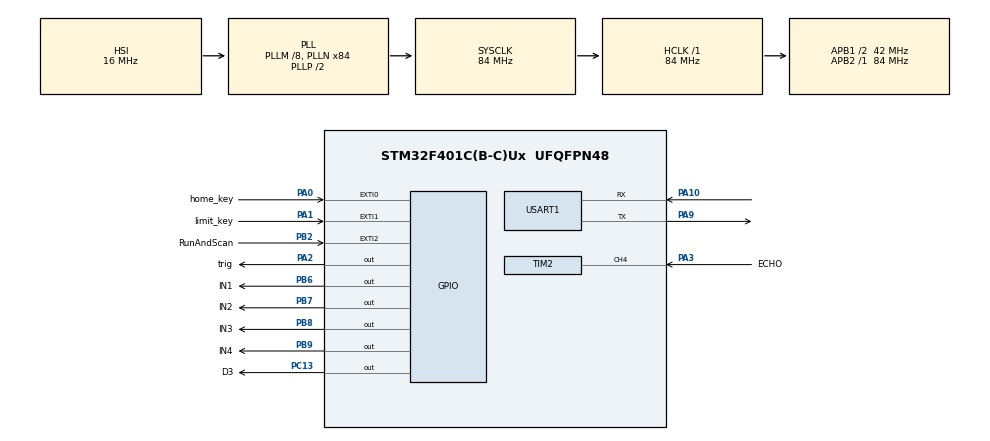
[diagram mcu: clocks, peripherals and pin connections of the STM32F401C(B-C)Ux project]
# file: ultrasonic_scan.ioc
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Mcu.Family=STM32F4
Mcu.Name=STM32F401C(B-C)Ux
Mcu.Package=UFQFPN48
NVIC.EXTI0_IRQn=true\:1\:0\:true\:true\:true\:1\:true\:true\:true
NVIC.EXTI1_IRQn=true\:2\:1\:true\:true\:true\:2\:true\:true\:true
NVIC.EXTI2_IRQn=true\:2\:2\:true\:true\:true\:3\:true\:true\:true
NVIC.PriorityGroup=NVIC_PRIORITYGROUP_2
NVIC.TIM2_IRQn=true\:2\:0\:true\:true\:true\:5\:true\:true\:true
NVIC.USART1_IRQn=true\:2\:3\:true\:true\:true\:4\:true\:true\:true
PA0-WKUP.GPIO_Label=home_key
PA0-WKUP.GPIO_ModeDefaultEXTI=GPIO_MODE_IT_FALLING
PA0-WKUP.GPIO_PuPd=GPIO_PULLUP
PA0-WKUP.Signal=GPXTI0
PA1.GPIO_Label=limit_key
PA1.GPIO_ModeDefaultEXTI=GPIO_MODE_IT_FALLING
PA1.GPIO_PuPd=GPIO_PULLUP
PA1.Signal=GPXTI1
PA10.Mode=Asynchronous
PA10.Signal=USART1_RX
PA13.Mode=Serial_Wire
PA13.Signal=SYS_JTMS-SWDIO
PA14.Mode=Serial_Wire
PA14.Signal=SYS_JTCK-SWCLK
PA2.GPIO_Label=trig
PA2.GPIO_PuPd=GPIO_PULLDOWN
PA2.GPIO_Speed=GPIO_SPEED_FREQ_HIGH
PA2.Signal=GPIO_Output
PA3.GPIO_Label=ECHO
PA3.GPIO_PuPd=GPIO_PULLDOWN
PA3.Signal=S_TIM2_CH4
PA9.Mode=Asynchronous
PA9.Signal=USART1_TX
PB2.GPIO_Label=RunAndScan
PB2.GPIO_ModeDefaultEXTI=GPIO_MODE_IT_RISING
PB2.GPIO_PuPd=GPIO_PULLDOWN
PB2.Signal=GPXTI2
PB6.GPIO_Label=IN1
PB6.GPIO_Speed=GPIO_SPEED_FREQ_VERY_HIGH
PB6.Signal=GPIO_Output
PB7.GPIO_Label=IN2
PB7.GPIO_Speed=GPIO_SPEED_FREQ_VERY_HIGH
PB7.Signal=GPIO_Output
PB8.GPIO_Label=IN3
PB8.GPIO_Speed=GPIO_SPEED_FREQ_VERY_HIGH
PB8.Signal=GPIO_Output
PB9.GPIO_Label=IN4
PB9.GPIO_Speed=GPIO_SPEED_FREQ_VERY_HIGH
PB9.Signal=GPIO_Output
PC13-ANTI_TAMP.GPIO_Label=D3
PC13-ANTI_TAMP.PinState=GPIO_PIN_SET
PC13-ANTI_TAMP.Signal=GPIO_Output
ProjectManager.HeapSize=0x200
ProjectManager.StackSize=0x400
ProjectManager.TargetToolchain=STM32CubeIDE
RCC.48MHZClocksFreq_Value=42000000
RCC.AHBFreq_Value=84000000
RCC.APB1CLKDivider=RCC_HCLK_DIV2
RCC.APB1Freq_Value=42000000
RCC.APB1TimFreq_Value=84000000
RCC.APB2Freq_Value=84000000
RCC.APB2TimFreq_Value=84000000
RCC.CortexFreq_Value=84000000
RCC.HCLKFreq_Value=84000000
RCC.HSE_VALUE=25000000
RCC.HSI_VALUE=16000000
RCC.LSE_VALUE=32768
RCC.PLLM=8
RCC.PLLN=84
RCC.SYSCLKFreq_VALUE=84000000
RCC.SYSCLKSource=RCC_SYSCLKSOURCE_PLLCLK
RCC.VCOOutputFreq_Value=168000000
SH.S_TIM2_CH4.0=TIM2_CH4,Input_Capture4_from_TI4
TIM2.AutoReloadPreload=TIM_AUTORELOAD_PRELOAD_DISABLE
TIM2.Channel-Input_Capture4_from_TI4=TIM_CHANNEL_4
TIM2.Period=0xFFFFFFFF
TIM2.Prescaler=84
TIM2.TIM_MasterOutputTrigger=TIM_TRGO_UPDATE
USART1.VirtualMode=VM_ASYNC
VP_TIM2_VS_ClockSourceINT.Mode=Internal
board=custom

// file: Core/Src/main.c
/* USER CODE BEGIN Header */
/**
  ******************************************************************************
  * @file           : main.c
  * @brief          : Main program body
  ******************************************************************************
  * @attention
  *
  * Copyright (c) 2022 STMicroelectronics.
  * All rights reserved.
  *
  * This software is licensed under terms that can be found in the LICENSE file
  * in the root directory of this software component.
  * If no LICENSE file comes with this software, it is provided AS-IS.
  *
  ******************************************************************************
  */
/* USER CODE END Header */
#include "main.h"
#include "tim.h"
#include "usart.h"
#include "gpio.h"

/* USER CODE BEGIN Includes */
#include "stepper.h"
#include "ultrasonic_scan.h"
#include "delay.h"
/* USER CODE END Includes */

/* USER CODE BEGIN PTD */
UART_HandleTypeDef huart1;
MachineState motor_state;
set_workmode workmode = {1};//默认自动模式

//extern uint8_t aRxBuffer[RXBUFFERSIZE];
//extern uint8_t USART_RX_BUF[USART_REC_LEN];
//extern uint16_t USART_RX_STA;
//重定向printf函数
#ifdef __GNUC__
#define PUTCHAR_PROTOTYPE int __io_putchar(int ch)
#else
#define PUTCHAR_PROTOTYPE int fputc(int ch, FILE *f)
#endif
PUTCHAR_PROTOTYPE
{
    //具体哪个串口可以更改huart1
    HAL_UART_Transmit(&huart1 , (uint8_t *)&ch, 1 , 0xffff);
    return ch;
}
//重定向scanf函数
int fgetc(FILE *stream)
{
	uint8_t ch[1];
	HAL_UART_Receive(&huart1,ch,1,0xFFFF);
	return ch[0];
}
/* USER CODE END PTD */

/* USER CODE BEGIN PV */
uint8_t hal_Rx_buff[1] = {0}; //接收中断-缓冲�???
uint8_t uart1_Rx_buff[10] = {0};

static uint32_t T_start,T_stop,HighTime;
static float target_dis = 0;
int angle_num = 361-1; //250°*1.44=361
static int scan_count;

/* USER CODE END PV */

void SystemClock_Config(void);
static void MX_NVIC_Init(void);

int main(void)
{

  /* MCU Configuration--------------------------------------------------------*/

  /* Reset of all peripherals, Initializes the Flash interface and the Systick. */
  HAL_Init();

  /* Configure the system clock */
  SystemClock_Config();

  /* USER CODE BEGIN SysInit */
  HAL_NVIC_SetPriority(SysTick_IRQn,0,0);//设置滴答计时器中断优先级为最高�?�防止HAL_Delay在中断中卡死
  /* USER CODE END SysInit */

  /* Initialize all configured peripherals */
  MX_GPIO_Init();
  MX_USART1_UART_Init();
  MX_TIM2_Init();

  /* Initialize interrupts */
  MX_NVIC_Init();
  /* USER CODE BEGIN 2 */
  HAL_UART_Receive_IT(&huart1, hal_Rx_buff, 1);//重新�???启接收中�???,???放在这里和放在WHILE循环中有�???么区�???
  /* USER CODE END 2 */

  /* Infinite loop */
  /* USER CODE BEGIN WHILE */
  while (1)
  {
	  HAL_GPIO_TogglePin(D3_GPIO_Port, D3_Pin);
	  switch(scan_count)

	  {
	  	  case 361:
			  motor_state.in_halfposition = 1; //完成半轮扫描。一个来回为一轮
			  angle_num = 361-1;
			  __HAL_GPIO_EXTI_GENERATE_SWIT(RunAndScan_Pin); //第二次顺时针扫描
			  //Send_Pluse(); //第二次顺时针扫描
			  break;
		  case 722:
			  motor_state.in_position = 1; //完成一轮扫描，准备第二轮扫描
			  motor_state.in_halfposition = 0;
			  scan_count = 0;
			  angle_num = 361-2;
			  break;

	  }
//	  Send_Pluse();
//	  HAL_Delay(300);

	  switch(uart1_Rx_buff[0])
	  {
	  	  case 0x01:
			  printf("hal_Rx_buff: %d\r\n",uart1_Rx_buff[0]);
			  __HAL_GPIO_EXTI_GENERATE_SWIT(home_key_Pin);
			  uart1_Rx_buff[0] = 0; //0X01指令�???次触发一次回�???
			  break;
	  	  case 0x02:
			  printf("hal_Rx_buff: %d\r\n",uart1_Rx_buff[0]);
			  if(motor_state.home_state == 1)workmode.mode = 0; //�???启手动模式，禁用自动模式
			  uart1_Rx_buff[0] = 0;
			  break;
	  	  case 0x03:
	  		  if(workmode.mode == 0)
	  		  {
				  motor_state.jog_dir = cw; //顺时针转5�???
				  printf("hal_Rx_buff: %d\r\n",uart1_Rx_buff[0]);
				  __HAL_GPIO_EXTI_GENERATE_SWIT(RunAndScan_Pin);
				  uart1_Rx_buff[0] = 0;
				  break;
	  		  }

	  	  case 0x04:
	  		  if(workmode.mode == 0)
	  		  {
		  		  motor_state.jog_dir = ccw; //逆时针转5�???
				  printf("hal_Rx_buff: %d\r\n",uart1_Rx_buff[0]);
				  __HAL_GPIO_EXTI_GENERATE_SWIT(RunAndScan_Pin);
				  uart1_Rx_buff[0] = 0;
				  break;
	  		  }
	  	  case 0x05:
			  printf("hal_Rx_buff: %d\r\n",uart1_Rx_buff[0]);
			  if(motor_state.home_state == 1)workmode.mode = 1; //退出手动模式
			  uart1_Rx_buff[0] = 0;
			  break;

	  }

    /* USER CODE END WHILE */

  }
}

void SystemClock_Config(void)
{
  RCC_OscInitTypeDef RCC_OscInitStruct = {0};
  RCC_ClkInitTypeDef RCC_ClkInitStruct = {0};

  /** Configure the main internal regulator output voltage
  */
  __HAL_RCC_PWR_CLK_ENABLE();
  __HAL_PWR_VOLTAGESCALING_CONFIG(PWR_REGULATOR_VOLTAGE_SCALE2);

  /** Initializes the RCC Oscillators according to the specified parameters
  * in the RCC_OscInitTypeDef structure.
  */
  RCC_OscInitStruct.OscillatorType = RCC_OSCILLATORTYPE_HSI;
  RCC_OscInitStruct.HSIState = RCC_HSI_ON;
  RCC_OscInitStruct.HSICalibrationValue = RCC_HSICALIBRATION_DEFAULT;
  RCC_OscInitStruct.PLL.PLLState = RCC_PLL_ON;
  RCC_OscInitStruct.PLL.PLLSource = RCC_PLLSOURCE_HSI;
  RCC_OscInitStruct.PLL.PLLM = 8;
  RCC_OscInitStruct.PLL.PLLN = 84;
  RCC_OscInitStruct.PLL.PLLP = RCC_PLLP_DIV2;
  RCC_OscInitStruct.PLL.PLLQ = 4;
  if (HAL_RCC_OscConfig(&RCC_OscInitStruct) != HAL_OK)
  {
    Error_Handler();
  }

  /** Initializes the CPU, AHB and APB buses clocks
  */
  RCC_ClkInitStruct.ClockType = RCC_CLOCKTYPE_HCLK|RCC_CLOCKTYPE_SYSCLK
                              |RCC_CLOCKTYPE_PCLK1|RCC_CLOCKTYPE_PCLK2;
  RCC_ClkInitStruct.SYSCLKSource = RCC_SYSCLKSOURCE_PLLCLK;
  RCC_ClkInitStruct.AHBCLKDivider = RCC_SYSCLK_DIV1;
  RCC_ClkInitStruct.APB1CLKDivider = RCC_HCLK_DIV2;
  RCC_ClkInitStruct.APB2CLKDivider = RCC_HCLK_DIV1;

  if (HAL_RCC_ClockConfig(&RCC_ClkInitStruct, FLASH_LATENCY_2) != HAL_OK)
  {
    Error_Handler();
  }
}

/**
  * @brief NVIC Configuration.
  * @retval None
  */
static void MX_NVIC_Init(void)
{
  /* EXTI0_IRQn interrupt configuration */
  HAL_NVIC_SetPriority(EXTI0_IRQn, 1, 0);
  HAL_NVIC_EnableIRQ(EXTI0_IRQn);
  /* EXTI1_IRQn interrupt configuration */
  HAL_NVIC_SetPriority(EXTI1_IRQn, 2, 1);
  HAL_NVIC_EnableIRQ(EXTI1_IRQn);
  /* EXTI2_IRQn interrupt configuration */
  HAL_NVIC_SetPriority(EXTI2_IRQn, 2, 2);
  HAL_NVIC_EnableIRQ(EXTI2_IRQn);
  /* USART1_IRQn interrupt configuration */
  HAL_NVIC_SetPriority(USART1_IRQn, 2, 3);
  HAL_NVIC_EnableIRQ(USART1_IRQn);
  /* TIM2_IRQn interrupt configuration */
  HAL_NVIC_SetPriority(TIM2_IRQn, 2, 0);
  HAL_NVIC_EnableIRQ(TIM2_IRQn);
}

/* USER CODE BEGIN 4 */

//Find 0 point
//HomeKey中断回调函数
float juli=0;

void HAL_GPIO_EXTI_Callback(uint16_t GPIO_Pin)
{
	if(GPIO_Pin == home_key_Pin)
	{
		motor_state.home_state = 0;
		HAL_GPIO_WritePin(D3_GPIO_Port, D3_Pin, GPIO_PIN_RESET);
		//HAL_Delay(5000);//外部中断优先级不能高于systick (0,0)
		while(HAL_GPIO_ReadPin(GPIOA, limit_key_Pin) == GPIO_PIN_SET)
		{
			Motor_contin(1,2);
		}
		//找到零位并移动至待机
		SetMotor(0);
		HAL_Delay(20);
		motor_circle(10, 0, 2);  //80正对
		motor_state.home_state = 1; //回家完成状态更新

		__HAL_GPIO_EXTI_CLEAR_IT(home_key_Pin); //清标志位home
		__HAL_GPIO_EXTI_CLEAR_IT(limit_key_Pin); //清标志位limit
	}

	if(GPIO_Pin == limit_key_Pin)
	{
		//运行中撞限位处理
		//LimitKey中断回调函数
		//uint8_t checkstate;
		//checkstate = motor_state.home_state;
		if(motor_state.home_state == 1)
		{
			SetMotor(0);
			while(1)
			{
				HAL_GPIO_TogglePin(GPIOC, GPIO_PIN_13);
				HAL_Delay(5000);
			}
			__HAL_GPIO_EXTI_CLEAR_IT(limit_key_Pin);
		}else
			__HAL_GPIO_EXTI_CLEAR_IT(limit_key_Pin);

	}

	if(GPIO_Pin == RunAndScan_Pin)
	{
/*******自动模式*******/

		//RunAndScan中断回调函数
		uint8_t i;

		if(workmode.mode == 1)
		{
			if(motor_state.home_state == 1)
			{

					if(motor_state.in_halfposition == 0)
					{
						motor_circle(1, ccw, 2);
						Send_Pluse();
						__HAL_GPIO_EXTI_CLEAR_IT(RunAndScan_Pin);
					}else
					{
						motor_circle(1, cw, 2);
						Send_Pluse();
						__HAL_GPIO_EXTI_CLEAR_IT(RunAndScan_Pin);
					}

			}else
				__HAL_GPIO_EXTI_CLEAR_IT(RunAndScan_Pin);
		}

/*******手动模式*******/
		if(EXTI->SWIER & 0X04 ) //判断是软件中断
		{
			if(workmode.mode == 0)
				{
				switch(motor_state.jog_dir)
				   {case(cw):
						for(i=0;i<7;i++)//CW顺时针扫描5度， 5*1.44。 1.44实际角度系数
						{
							motor_circle(1, cw, 2);
						}i=0;
						__HAL_GPIO_EXTI_CLEAR_IT(RunAndScan_Pin);
						break;
					case(ccw):
						for(i=0;i<7;i++)//CCW顺时针扫描
						{
							motor_circle(1, ccw, 2);
						}i=0;
						__HAL_GPIO_EXTI_CLEAR_IT(RunAndScan_Pin);
						break;
					}
				}

		}

	}
}

void HAL_UART_RxCpltCallback(UART_HandleTypeDef *huart)
{
	if(huart->Instance==USART1)
	{
		printf("You send data : \r\n");
		HAL_UART_Receive_IT(&huart1, hal_Rx_buff, 1);
		uart1_Rx_buff[0] = hal_Rx_buff[0];

		HAL_UART_Transmit(&huart1,hal_Rx_buff,1,0xFFFF);
	}

//	if(huart->Instance==USART1)
//	{
//		if((USART_RX_STA&0x8000)==0)
//		{
//			if(USART_RX_STA&0x4000)//收到0X0D
//			{
//				if(aRxBuffer[0]!=0x0a)USART_RX_STA=0;//未收�???0X0A,USART_RX_STA状�?�重�???
//				else
//				{
//					USART_RX_STA|=0x8000;//收到0X0A,接收到回车信号（0D�???0A），传输完成
//					if(USART_RX_BUF[0]== 0x01)//0x01--home信号
//					{
//						printf("buf[0]=%d \r\n",USART_RX_BUF[0]);
//						//HAL_EXTI_GenerateSWI();
//						__HAL_GPIO_EXTI_GENERATE_SWIT(home_key_Pin);
//					}
//
//				}
//
//
//			}
//			else
//			{
//				if(aRxBuffer[0]==0x0d)USART_RX_STA|=0x4000;
//				else//未收�???0X0D
//				{
//					USART_RX_BUF[USART_RX_STA&0X3FFF]=aRxBuffer[0] ;//数据储存至USART_RX_BUF
//					USART_RX_STA++;
//					if(USART_RX_STA>(USART_REC_LEN-1))USART_RX_STA=0;
//				}
//			}
//		}
//
//	}
}

void HAL_TIM_IC_CaptureCallback(TIM_HandleTypeDef *htim)
{

	//HAL_Delay(100);
	Send_Pluse();
	//printf("Z1 \r\n");
	if(htim2.Instance==TIM2)
	{

					T_start = HAL_TIM_ReadCapturedValue(&htim2, TIM_CHANNEL_4); //获取上升沿时间点
					__HAL_TIM_SET_CAPTUREPOLARITY(&htim2, TIM_CHANNEL_4, TIM_INPUTCHANNELPOLARITY_FALLING); //切换下降沿捕获
					HAL_TIM_IC_Start_IT(&htim2, TIM_CHANNEL_4);//在中断中重新启动输入捕获切换捕获极性后，重新启动
					HAL_Delay(2);
					//printf("d1 = %d cm \r\n", (int)T_start);

					T_stop = HAL_TIM_ReadCapturedValue(&htim2, TIM_CHANNEL_4);//获取下降沿时间点
					__HAL_TIM_SET_CAPTUREPOLARITY(&htim2, TIM_CHANNEL_4, TIM_INPUTCHANNELPOLARITY_RISING); //切换上升沿捕获
					HAL_TIM_IC_Start_IT(&htim2, TIM_CHANNEL_4);//切换捕获极性后，重新启动
					//HAL_Delay(2);
					//printf("d2 = %d cm \r\n", (int)T_stop);

				//高电平持续时间 = 下降沿时间点 - 上升沿时间点
				HighTime =T_stop - T_start;
				target_dis = HighTime * 0.17 ; //计算超声波测量距离mm
				scan_count++;
				printf("target_dis = %f mm \r\n", target_dis);
				//printf("count = %d  \r\n", scan_count);
				if(angle_num != 0 &&motor_state.in_position != 1)
				{
					HAL_Delay(1);
					__HAL_GPIO_EXTI_GENERATE_SWIT(RunAndScan_Pin);
					angle_num--;
				}else
					motor_state.in_position = 0 ;

	}
}

/**/
void HAL_TIM_PeriodElapsedCallback(TIM_HandleTypeDef *htim)
{

}

/* USER CODE END 4 */

void Error_Handler(void)
{
  __disable_irq();
  while (1)
  {
  }
}
